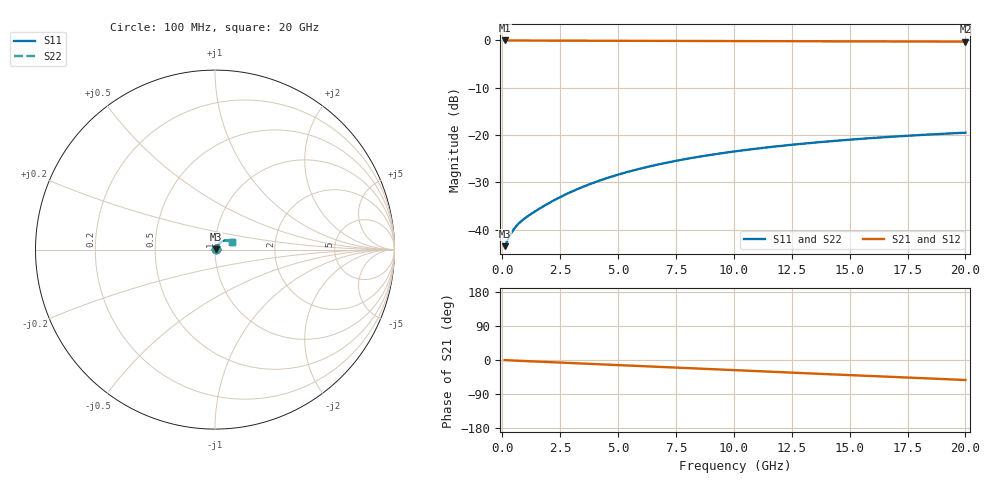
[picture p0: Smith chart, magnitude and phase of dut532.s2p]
! Touchstone file exported from HFSS 2026.1.0
!  File:  C:/ffzhzh/LocalFiles/Ansys_Project_Files/temp_train_TMRDL_532_1783007331_46388.aedt
!  Generated:  11:50:13 PM Jul  2, 2026
!  Design:  TMRDL
!  Project:  temp_train_TMRDL_532_1783007331_46388
! Variables:
!  h_bsmrdl = 2um
!  h_ox = 20um
!  h_rdl = 5um
!  h_sub = 80um
!  h_tmrdl = 3.06um
!  h_tsv = 80um
!  h_via = 3um
!  l_bsmrdl = 300um
!  l_sub = 1348.03um
!  l_tmrdl = 948.03um
!  m_sub = 200um
!  pitch = 21.94um
!  r_tsv = 6um
!  s_tmrdl = 10um
!  w_bsmrdl = 18um
!  w_sub = 500um
!  w_tmrdl = 17.22um
!  x_tsv_center1 = 956.64um
!  x_tsv_center2 = 1274.64um
!  x_tsv_center3 = 2239.89um
!  x_tsv_center4 = 2557.89um
!  x_tsv_center5 = 3523.14um
!  x_tsv_center6 = 3841.14um
# GHz S MA R 50.000000
! Terminal data exported
! Port[1] = TM_RDL1_1_T1
! Port[2] = TM_RDL1_1_T2
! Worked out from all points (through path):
!   200 points, 100 MHz to 20 GHz, reference 50 ohm
!   highest |S21| = -0.06 dB at 100 MHz (marker M1); lowest = -0.3 dB at 20 GHz (marker M2)
!   group delay of S21, straight-line fit = 7.3 ps
!   lowest |S11| = -43.5 dB at 100 MHz (marker M3), VSWR 1.01, Z = 50.7 + j0.147 ohm
!   |S11| at or under -10 dB: start of sweep to end of sweep
!   |S22| runs from -43.5 to -19.5 dB; largest |S21 - S12| = 3.1e-15
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0.1  0.006708 12.5  0.9935 -0.3  0.9935 -0.3  0.006708 12.5
! Gamma 0 0 0 0
! Port Impedance 50 0 50 0
0.3  0.008401 27.4  0.9926 -0.9  0.9926 -0.9  0.008401 27.4
0.4  0.009318 30.9  0.9921 -1.2  0.9921 -1.2  0.009317 30.9
0.5  0.01015 33.1  0.9916 -1.5  0.9916 -1.5  0.01015 33.1
0.6  0.01089 34.9  0.9912 -1.8  0.9912 -1.8  0.01089 34.9
0.7  0.01156 36.3  0.9909 -2.0  0.9909 -2.0  0.01156 36.3
1  0.01333 40.2  0.9902 -2.8  0.9902 -2.8  0.01333 40.2
1.5  0.01611 45.7  0.9896 -4.2  0.9896 -4.2  0.01611 45.7
2.2  0.02024 51.1  0.9889 -6.0  0.9889 -6.0  0.02023 51.2
2.8  0.02398 53.8  0.9883 -7.7  0.9883 -7.7  0.02397 53.9
3.5  0.02848 55.4  0.9876 -9.6  0.9876 -9.6  0.02846 55.5
4.2  0.033 55.9  0.9868 -11.4  0.9868 -11.4  0.03298 56.0
5  0.03813 55.6  0.9858 -13.6  0.9858 -13.6  0.0381 55.7
5.9  0.04377 54.6  0.9845 -16.0  0.9845 -16.0  0.04373 54.7
6.8  0.04923 53.1  0.9832 -18.4  0.9832 -18.4  0.04918 53.3
8.3  0.05786 50.2  0.9809 -22.4  0.9809 -22.4  0.05779 50.4
10.1  0.0674 46.2  0.9781 -27.1  0.9781 -27.1  0.0673 46.5
11.7  0.07516 42.5  0.9757 -31.3  0.9757 -31.3  0.07503 42.8
13.4  0.0827 38.5  0.9734 -35.7  0.9734 -35.7  0.08253 38.9
15  0.08917 34.7  0.9713 -39.9  0.9713 -39.9  0.08897 35.2
16.7  0.09541 30.7  0.9692 -44.3  0.9692 -44.3  0.09517 31.2
20  0.1057 22.9  0.9657 -52.8  0.9657 -52.8  0.1053 23.5
